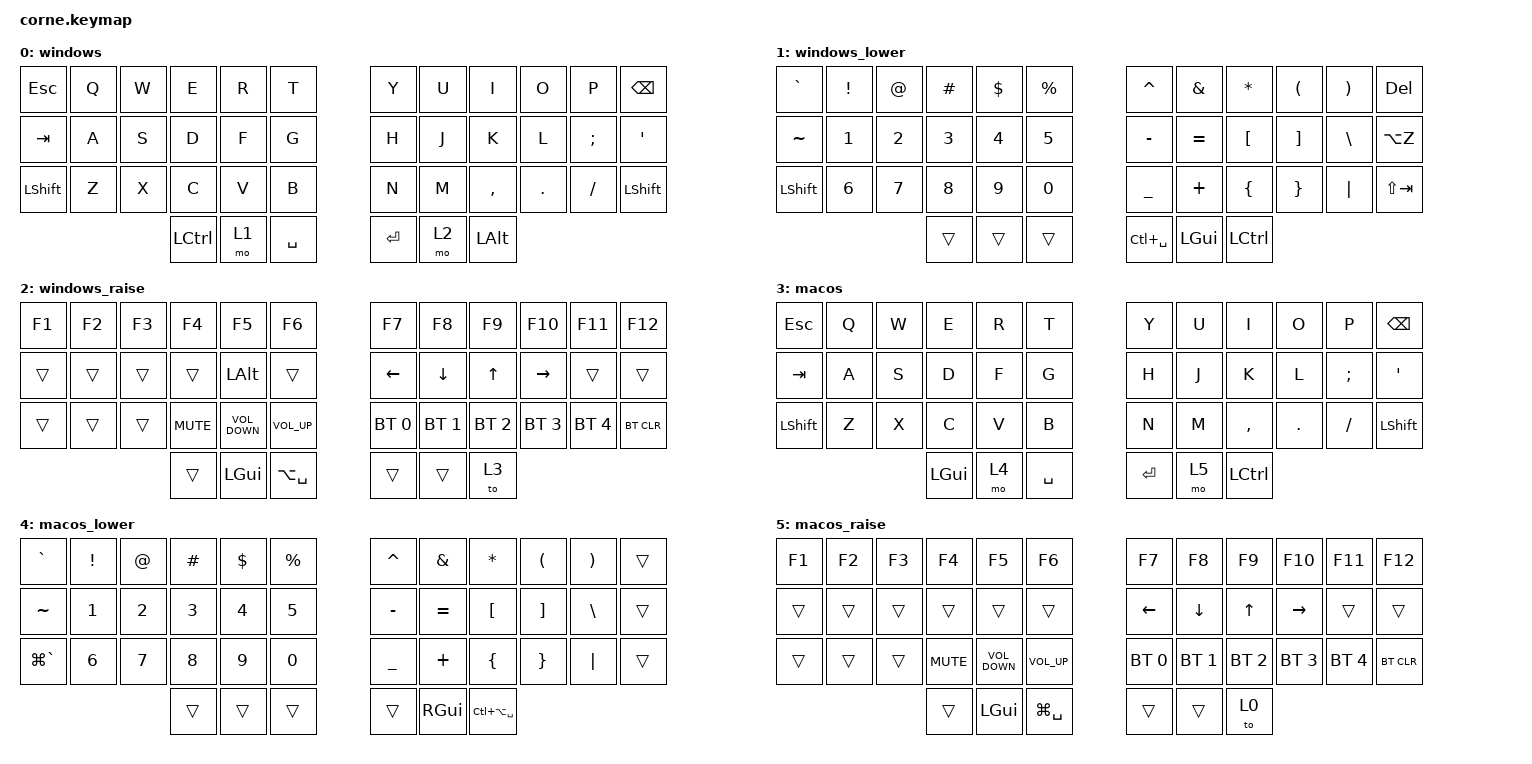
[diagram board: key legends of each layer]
/*
 * Copyright (c) 2020 The ZMK Contributors
 *
 * SPDX-License-Identifier: MIT
 */

#include <behaviors.dtsi>
#include <dt-bindings/zmk/bt.h>
#include <dt-bindings/zmk/keys.h>

/ {
    keymap {
        compatible = "zmk,keymap";

        windows {
            bindings = <
&kp ESC    &kp Q  &kp W  &kp E      &kp R  &kp T        &kp Y      &kp U  &kp I      &kp O    &kp P     &kp BSPC
&kp TAB    &kp A  &kp S  &kp D      &kp F  &kp G        &kp H      &kp J  &kp K      &kp L    &kp SEMI  &kp APOS
&kp LSHFT  &kp Z  &kp X  &kp C      &kp V  &kp B        &kp N      &kp M  &kp COMMA  &kp DOT  &kp FSLH  &kp LEFT_SHIFT
                         &kp LCTRL  &mo 1  &kp SPACE    &kp ENTER  &mo 2  &kp LALT
            >;
        };

        windows_lower {
            bindings = <
&kp GRAVE       &kp EXCL  &kp AT  &kp HASH  &kp DOLLAR  &kp PERCENT    &kp CARET      &kp AMPERSAND  &kp ASTRK       &kp LEFT_PARENTHESIS  &kp RIGHT_PARENTHESIS  &kp DELETE
&kp TILDE       &kp N1    &kp N2  &kp N3    &kp N4      &kp N5         &kp MINUS      &kp EQUAL      &kp LBKT        &kp RBKT              &kp BSLH               &kp LA(Z)
&kp LEFT_SHIFT  &kp N6    &kp N7  &kp N8    &kp N9      &kp N0         &kp UNDER      &kp PLUS       &kp LEFT_BRACE  &kp RIGHT_BRACE       &kp PIPE               &kp LS(TAB)
                                  &trans    &trans      &trans         &kp LC(SPACE)  &kp LGUI       &kp LCTRL
            >;
        };

        windows_raise {
            bindings = <
&kp F1  &kp F2  &kp F3  &kp F4      &kp F5             &kp F6             &kp F7        &kp F8        &kp F9        &kp F10       &kp F11       &kp F12
&trans  &trans  &trans  &trans      &kp LEFT_ALT       &trans             &kp LEFT      &kp DOWN      &kp UP        &kp RIGHT     &trans        &trans
&trans  &trans  &trans  &kp C_MUTE  &kp C_VOLUME_DOWN  &kp C_VOLUME_UP    &bt BT_SEL 0  &bt BT_SEL 1  &bt BT_SEL 2  &bt BT_SEL 3  &bt BT_SEL 4  &bt BT_CLR
                        &trans      &kp LEFT_GUI       &kp LA(SPACE)      &trans        &trans        &to 3
            >;
        };

        macos {
            // -----------------------------------------------------------------------------------------
            // |  TAB |  Q  |  W  |  E  |  R  |  T  |   |  Y  |  U   |  I  |  O  |  P  | BSPC |
            // | CTRL |  A  |  S  |  D  |  F  |  G  |   |  H  |  J   |  K  |  L  |  ;  |  '   |
            // | SHFT |  Z  |  X  |  C  |  V  |  B  |   |  N  |  M   |  ,  |  .  |  /  | ESC  |
            //                    | GUI | LWR | SPC |   | ENT | RSE  | ALT |

            bindings = <
&kp ESCAPE  &kp Q  &kp W  &kp E     &kp R  &kp T        &kp Y    &kp U  &kp I      &kp O    &kp P     &kp BSPC
&kp TAB     &kp A  &kp S  &kp D     &kp F  &kp G        &kp H    &kp J  &kp K      &kp L    &kp SEMI  &kp SQT
&kp LSHFT   &kp Z  &kp X  &kp C     &kp V  &kp B        &kp N    &kp M  &kp COMMA  &kp DOT  &kp FSLH  &kp LEFT_SHIFT
                          &kp LGUI  &mo 4  &kp SPACE    &kp RET  &mo 5  &kp LCTRL
            >;
        };

        macos_lower {
            // -----------------------------------------------------------------------------------------
            // |  TAB |  1  |  2  |  3  |  4  |  5  |   |  6  |  7  |  8  |  9  |  0  | BSPC |
            // | BTCLR| BT1 | BT2 | BT3 | BT4 | BT5 |   | LFT | DWN |  UP | RGT |     |      |
            // | SHFT |     |     |     |     |     |   |     |     |     |     |     |      |
            //                    | GUI |     | SPC |   | ENT |     | ALT |

            bindings = <
&kp GRAVE      &kp EXCLAMATION  &kp AT_SIGN  &kp HASH  &kp DOLLAR  &kp PERCENT    &kp CARET       &kp AMPERSAND  &kp ASTERISK       &kp LEFT_PARENTHESIS  &kp RIGHT_PARENTHESIS  &trans
&kp TILDE      &kp N1           &kp N2       &kp N3    &kp N4      &kp N5         &kp MINUS       &kp EQUAL      &kp LEFT_BRACKET   &kp RIGHT_BRACKET     &kp BACKSLASH          &trans
&kp LG(GRAVE)  &kp N6           &kp N7       &kp N8    &kp N9      &kp N0         &kp UNDERSCORE  &kp PLUS       &kp LEFT_BRACE     &kp RIGHT_BRACE       &kp PIPE               &trans
                                             &trans    &trans      &trans         &trans          &kp RGUI       &kp LC(LA(SPACE))
            >;
        };

        macos_raise {
            // -----------------------------------------------------------------------------------------
            // |  TAB |  !  |  @  |  #  |  $  |  %  |   |  ^  |  &  |  *  |  (  |  )  | BSPC |
            // | CTRL |     |     |     |     |     |   |  -  |  =  |  [  |  ]  |  \  |  `   |
            // | SHFT |     |     |     |     |     |   |  _  |  +  |  {  |  }  | "|" |  ~   |
            //                    | GUI |     | SPC |   | ENT |     | ALT |

            bindings = <
&kp F1  &kp F2  &kp F3  &kp F4      &kp F5             &kp F6             &kp F7        &kp F8        &kp F9        &kp F10       &kp F11       &kp F12
&trans  &trans  &trans  &trans      &trans             &trans             &kp LEFT      &kp DOWN      &kp UP        &kp RIGHT     &trans        &trans
&trans  &trans  &trans  &kp C_MUTE  &kp C_VOLUME_DOWN  &kp C_VOLUME_UP    &bt BT_SEL 0  &bt BT_SEL 1  &bt BT_SEL 2  &bt BT_SEL 3  &bt BT_SEL 4  &bt BT_CLR
                        &trans      &kp LGUI           &kp LG(SPACE)      &trans        &trans        &to 0
            >;
        };
    };
};
